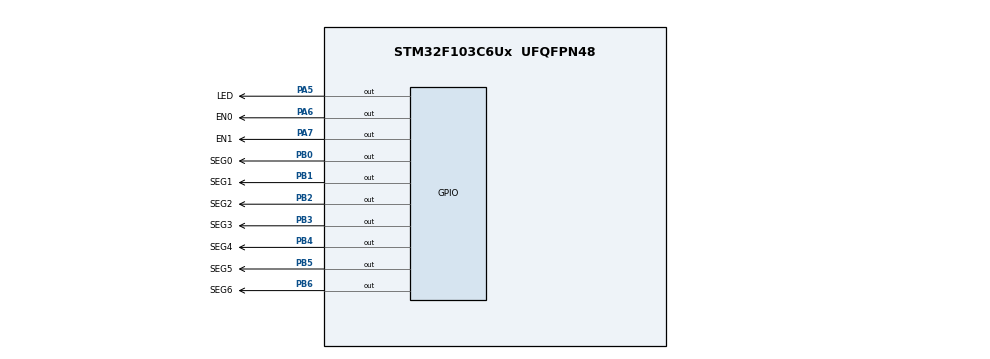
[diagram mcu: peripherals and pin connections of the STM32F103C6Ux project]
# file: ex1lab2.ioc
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Mcu.Family=STM32F1
Mcu.Name=STM32F103C6Ux
Mcu.Package=UFQFPN48
NVIC.PriorityGroup=NVIC_PRIORITYGROUP_4
NVIC.TIM2_IRQn=true\:0\:0\:false\:false\:true\:true\:true
PA5.GPIO_Label=LED
PA5.Signal=GPIO_Output
PA6.GPIO_Label=EN0
PA6.Signal=GPIO_Output
PA7.GPIO_Label=EN1
PA7.Signal=GPIO_Output
PB0.GPIO_Label=SEG0
PB0.Signal=GPIO_Output
PB1.GPIO_Label=SEG1
PB1.Signal=GPIO_Output
PB2.GPIO_Label=SEG2
PB2.Signal=GPIO_Output
PB3.GPIO_Label=SEG3
PB3.Signal=GPIO_Output
PB4.GPIO_Label=SEG4
PB4.Signal=GPIO_Output
PB5.GPIO_Label=SEG5
PB5.Signal=GPIO_Output
PB6.GPIO_Label=SEG6
PB6.Signal=GPIO_Output
ProjectManager.HeapSize=0x200
ProjectManager.StackSize=0x400
ProjectManager.TargetToolchain=STM32CubeIDE
RCC.APB1Freq_Value=8000000
RCC.APB2Freq_Value=8000000
TIM2.Period=9
TIM2.Prescaler=7999
VP_SYS_VS_ND.Mode=No_Debug
VP_TIM2_VS_ClockSourceINT.Mode=Internal
board=custom

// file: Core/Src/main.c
/* USER CODE BEGIN Header */
/**
  ******************************************************************************
  * @file           : main.c
  * @brief          : Lab 2 - Exercise 1: 2 Seven Segment LED Scanning
  ******************************************************************************
  */
/* USER CODE END Header */
#include "main.h"

TIM_HandleTypeDef htim2;

/* USER CODE BEGIN PV */
int timer_counter = 50; // 50 x 10ms = 500ms
int led_state = 0;      // 0: Hiển thị LED 1 (số 1), 1: Hiển thị LED 2 (số 2)
/* USER CODE END PV */

void SystemClock_Config(void);
static void MX_GPIO_Init(void);
static void MX_TIM2_Init(void);
/* USER CODE BEGIN PFP */
void display7SEG(int num);
/* USER CODE END PFP */

/* USER CODE BEGIN 0 */
// Hàm xuất mã hiển thị lên LED 7 đoạn Anode chung (PB0 -> PB6)
void display7SEG(int num) {
    // Thứ tự Bit:  bit6 bit5 bit4 bit3 bit2 bit1 bit0
    // Chân kết nối:  g    f    e    d    c    b    a  (PB6 -> PB0)
    // Quy ước Active HIGH (1 là BẬT):
    uint8_t segmentNumber[10] = {
        0b00111111, // 0: a,b,c,d,e,f
        0b00000110, // 1: b,c
        0b01011011, // 2: a,b,d,e,g
        0b01001111, // 3: a,b,c,d,g
        0b01100110, // 4: b,c,f,g
        0b01101101, // 5: a,c,d,f,g
        0b01111101, // 6: a,c,d,e,f,g
        0b00000111, // 7: a,b,c
        0b01111111, // 8: Tất cả các đoạn
        0b01101111  // 9: a,b,c,d,f,g
    };

    if (num >= 0 && num <= 9) {
        // Vì LED Anode chung nên đảo bit (~): Bit 0 = S�?NG, Bit 1 = TẮT
        uint8_t data = ~segmentNumber[num];

        for (int i = 0; i < 7; i++) {
            HAL_GPIO_WritePin(GPIOB, GPIO_PIN_0 << i, (data >> i) & 0x01);
        }
    }
}
/* USER CODE END 0 */

int main(void)
{

  /* MCU Configuration--------------------------------------------------------*/

  /* Reset of all peripherals, Initializes the Flash interface and the Systick. */
  HAL_Init();

  /* Configure the system clock */
  SystemClock_Config();

  /* Initialize all configured peripherals */
  MX_GPIO_Init();
  MX_TIM2_Init();
  /* USER CODE BEGIN 2 */
  // Kích hoạt Ngắt Timer 2[cite: 12]
  HAL_TIM_Base_Start_IT(&htim2);
  /* USER CODE END 2 */

  /* Infinite loop */
  while (1)
  {

    /* USER CODE BEGIN 3 */
    // M�?i công việc chuyển đổi LED đã được xử lý trong ngắt Timer[cite: 15]
  }
  /* USER CODE END 3 */
}

void SystemClock_Config(void)
{
  RCC_OscInitTypeDef RCC_OscInitStruct = {0};
  RCC_ClkInitTypeDef RCC_ClkInitStruct = {0};

  /** Initializes the RCC Oscillators according to the specified parameters
  * in the RCC_OscInitTypeDef structure.
  */
  RCC_OscInitStruct.OscillatorType = RCC_OSCILLATORTYPE_HSI;
  RCC_OscInitStruct.HSIState = RCC_HSI_ON;
  RCC_OscInitStruct.HSICalibrationValue = RCC_HSICALIBRATION_DEFAULT;
  RCC_OscInitStruct.PLL.PLLState = RCC_PLL_NONE;
  if (HAL_RCC_OscConfig(&RCC_OscInitStruct) != HAL_OK)
  {
    Error_Handler();
  }
  /** Initializes the CPU, AHB and APB buses clocks
  */
  RCC_ClkInitStruct.ClockType = RCC_CLOCKTYPE_HCLK|RCC_CLOCKTYPE_SYSCLK
                              |RCC_CLOCKTYPE_PCLK1|RCC_CLOCKTYPE_PCLK2;
  RCC_ClkInitStruct.SYSCLKSource = RCC_SYSCLKSOURCE_HSI;
  RCC_ClkInitStruct.AHBCLKDivider = RCC_SYSCLK_DIV1;
  RCC_ClkInitStruct.APB1CLKDivider = RCC_HCLK_DIV1;
  RCC_ClkInitStruct.APB2CLKDivider = RCC_HCLK_DIV1;

  if (HAL_RCC_ClockConfig(&RCC_ClkInitStruct, FLASH_LATENCY_0) != HAL_OK)
  {
    Error_Handler();
  }
}

static void MX_TIM2_Init(void)
{

  TIM_ClockConfigTypeDef sClockSourceConfig = {0};
  TIM_MasterConfigTypeDef sMasterConfig = {0};

  htim2.Instance = TIM2;
  htim2.Init.Prescaler = 7999;
  htim2.Init.CounterMode = TIM_COUNTERMODE_UP;
  htim2.Init.Period = 9;
  htim2.Init.ClockDivision = TIM_CLOCKDIVISION_DIV1;
  htim2.Init.AutoReloadPreload = TIM_AUTORELOAD_PRELOAD_DISABLE;
  if (HAL_TIM_Base_Init(&htim2) != HAL_OK)
  {
    Error_Handler();
  }
  sClockSourceConfig.ClockSource = TIM_CLOCKSOURCE_INTERNAL;
  if (HAL_TIM_ConfigClockSource(&htim2, &sClockSourceConfig) != HAL_OK)
  {
    Error_Handler();
  }
  sMasterConfig.MasterOutputTrigger = TIM_TRGO_RESET;
  sMasterConfig.MasterSlaveMode = TIM_MASTERSLAVEMODE_DISABLE;
  if (HAL_TIMEx_MasterConfigSynchronization(&htim2, &sMasterConfig) != HAL_OK)
  {
    Error_Handler();
  }

}

static void MX_GPIO_Init(void)
{
  GPIO_InitTypeDef GPIO_InitStruct = {0};

  /* GPIO Ports Clock Enable */
  __HAL_RCC_GPIOA_CLK_ENABLE();
  __HAL_RCC_GPIOB_CLK_ENABLE();

  /*Configure GPIO pin Output Level */
  HAL_GPIO_WritePin(GPIOA, LED_Pin|EN0_Pin|EN1_Pin, GPIO_PIN_RESET);

  /*Configure GPIO pin Output Level */
  HAL_GPIO_WritePin(GPIOB, SEG0_Pin|SEG1_Pin|SEG2_Pin|SEG3_Pin
                          |SEG4_Pin|SEG5_Pin|SEG6_Pin, GPIO_PIN_RESET);

  /*Configure GPIO pins : LED_Pin EN0_Pin EN1_Pin */
  GPIO_InitStruct.Pin = LED_Pin|EN0_Pin|EN1_Pin;
  GPIO_InitStruct.Mode = GPIO_MODE_OUTPUT_PP;
  GPIO_InitStruct.Pull = GPIO_NOPULL;
  GPIO_InitStruct.Speed = GPIO_SPEED_FREQ_LOW;
  HAL_GPIO_Init(GPIOA, &GPIO_InitStruct);

  /*Configure GPIO pins : SEG0_Pin SEG1_Pin SEG2_Pin SEG3_Pin
                           SEG4_Pin SEG5_Pin SEG6_Pin */
  GPIO_InitStruct.Pin = SEG0_Pin|SEG1_Pin|SEG2_Pin|SEG3_Pin
                          |SEG4_Pin|SEG5_Pin|SEG6_Pin;
  GPIO_InitStruct.Mode = GPIO_MODE_OUTPUT_PP;
  GPIO_InitStruct.Pull = GPIO_NOPULL;
  GPIO_InitStruct.Speed = GPIO_SPEED_FREQ_LOW;
  HAL_GPIO_Init(GPIOB, &GPIO_InitStruct);

}

/* USER CODE BEGIN 4 */
// Hàm Callback được g�?i tự động mỗi khi xảy ra ngắt Timer 2 (10ms/lần)[cite: 12, 13]
void HAL_TIM_PeriodElapsedCallback(TIM_HandleTypeDef *htim) {
    if (htim->Instance == TIM2) {
        timer_counter--;

        if (timer_counter <= 0) {
            timer_counter = 50; // Reset lại đếm 500ms (50 x 10ms)

            if (led_state == 0) {
                // Bật LED 1: PA6 (EN0) = 0 (PNP dẫn), Tắt LED 2: PA7 (EN1) = 1[cite: 14]
                HAL_GPIO_WritePin(GPIOA, GPIO_PIN_6, GPIO_PIN_RESET);
                HAL_GPIO_WritePin(GPIOA, GPIO_PIN_7, GPIO_PIN_SET);

                display7SEG(1); // Hiển thị số 1[cite: 14]
                led_state = 1;  // Chuẩn bị cho lượt tới bật LED 2
            } else {
                // Tắt LED 1: PA6 (EN0) = 1, Bật LED 2: PA7 (EN1) = 0 (PNP dẫn)[cite: 14]
                HAL_GPIO_WritePin(GPIOA, GPIO_PIN_6, GPIO_PIN_SET);
                HAL_GPIO_WritePin(GPIOA, GPIO_PIN_7, GPIO_PIN_RESET);

                display7SEG(2); // Hiển thị số 2[cite: 14]
                led_state = 0;  // Chuẩn bị cho lượt tới bật LED 1
            }
        }
    }
}
/* USER CODE END 4 */

void Error_Handler(void)
{
  __disable_irq();
  while (1)
  {
  }
}

/************************ (C) COPYRIGHT STMicroelectronics *****END OF FILE****/
